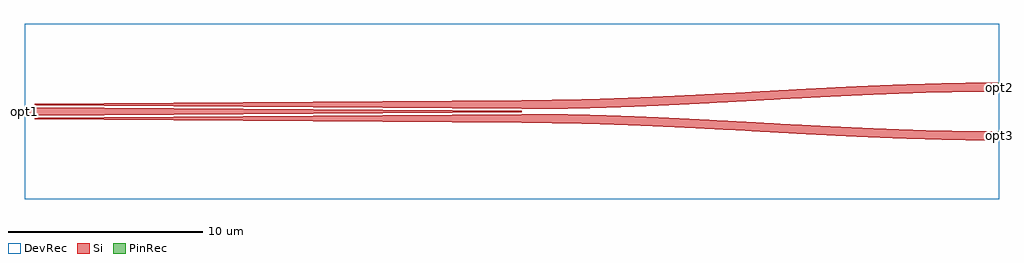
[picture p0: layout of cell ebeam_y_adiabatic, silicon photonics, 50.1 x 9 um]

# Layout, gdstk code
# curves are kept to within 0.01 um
import gdstk
lib = gdstk.Library(unit=1e-6, precision=1e-09)
def R(c, l, rs):  # rectangles x0, y0, x1, y1
    for r in rs: c.add(gdstk.rectangle(r[:2], r[2:], *l))
def P(c, l, *ps):  # polygons
    for p in ps: c.add(gdstk.Polygon(p, *l))
Si = (1, 0)
PinRec = (1, 10)
DevRec = (68, 0)

ebeam_y_adiabatic = lib.new_cell('ebeam_y_adiabatic')
P(ebeam_y_adiabatic, Si, [(25.5,1.38),(0.5,1.575),(0.5,1.635),(26.387,1.833),(28.435,1.865),(30.55,1.928),(32.939,2.027),(40.787,2.441),(44.131,2.596),(47.065,2.69),(50,2.725),(50,2.275),(47.338,2.246),(44.813,2.172),(41.742,2.039),(34.713,1.664),(31.54,1.516),(28.435,1.415)],
  [(49.693,-0.225),(47.065,-0.19),(44.131,-0.096),(40.787,0.059),(32.939,0.473),(30.55,0.572),(28.435,0.635),(26.387,0.667),(0.5,0.865),(0.5,0.925),(25.5,1.12),(28.435,1.085),(30.55,1.022),(32.939,0.923),(40.787,0.509),(44.131,0.354),(47.065,0.26),(50,0.225),(50,-0.225)],
  [(0,1.025),(0,1.475),(0.5,1.475),(25.5,1.28),(25.5,1.22),(0.5,1.025)])
R(ebeam_y_adiabatic, DevRec, [(0,-3.25,50,5.75)])
ebeam_y_adiabatic.add(gdstk.FlexPath([(49.95,2.5),(50.05,2.5)], 0.45, ends="flush", simple_path=True, layer=1, datatype=10))  # PinRec
ebeam_y_adiabatic.add(gdstk.FlexPath([(49.95,0),(50.05,0)], 0.45, ends="flush", simple_path=True, layer=1, datatype=10))  # PinRec
ebeam_y_adiabatic.add(gdstk.FlexPath([(0.05,1.25),(-0.05,1.25)], 0.45, ends="flush", simple_path=True, layer=1, datatype=10))  # PinRec
ebeam_y_adiabatic.add(gdstk.Label('opt3', (50,0), layer=1, texttype=10))
ebeam_y_adiabatic.add(gdstk.Label('opt2', (50,2.5), layer=1, texttype=10))
ebeam_y_adiabatic.add(gdstk.Label('opt1', (0,1.25), layer=1, texttype=10))

lib.write_gds('ebeam_y_adiabatic.gds')
